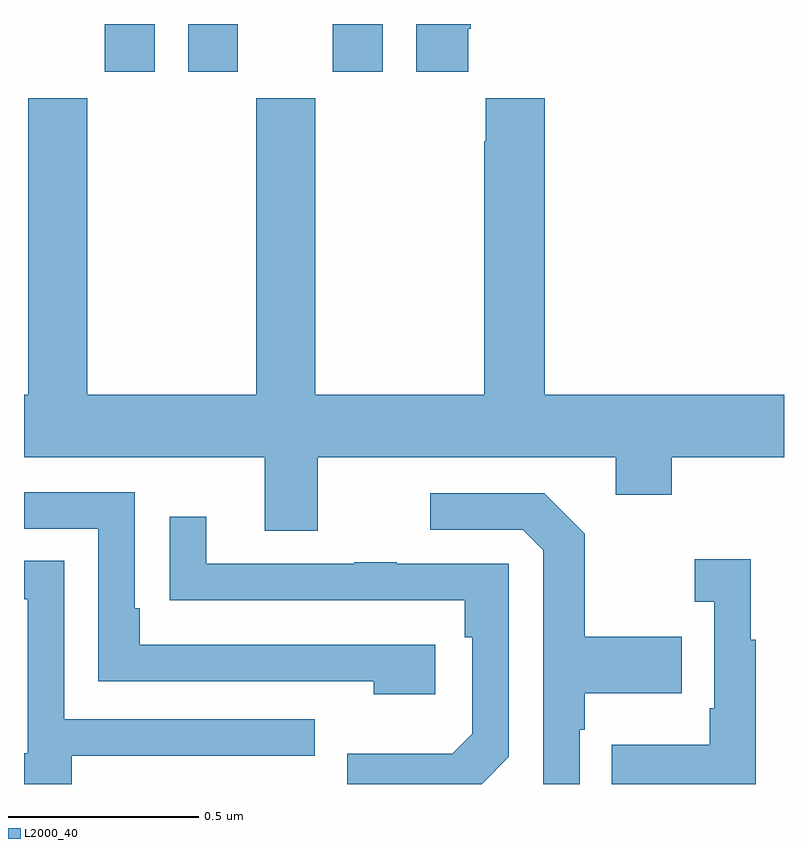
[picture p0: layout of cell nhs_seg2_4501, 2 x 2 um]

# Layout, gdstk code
import gdstk
lib = gdstk.Library(unit=1e-6, precision=1e-09)
def R(c, l, rs):  # rectangles x0, y0, x1, y1
    for r in rs: c.add(gdstk.rectangle(r[:2], r[2:], *l))
def P(c, l, *ps):  # polygons
    for p in ps: c.add(gdstk.Polygon(p, *l))
L2000_40 = (2000, 40)

nhs_seg2_4501 = lib.new_cell('nhs_seg2_4501')
R(nhs_seg2_4501, L2000_40, [(167.213,624.675,167.344,624.8), (167.432,624.675,167.563,624.8), (167.813,624.675,167.944,624.8)])
P(nhs_seg2_4501, L2000_40, [(168.169,624.787),(168.176,624.787),(168.176,624.8),(168.032,624.8),(168.032,624.675),(168.169,624.675)],
  [(167.773,623.66),(168.557,623.66),(168.557,623.561),(168.705,623.561),(168.705,623.66),(169,623.66),(169,623.824),(168.371,623.824),(168.371,624.604),(168.215,624.604),(168.215,624.491),(168.211,624.491),(168.211,623.824),(167.766,623.824),(167.766,624.604),(167.611,624.604),(167.611,623.824),(167.166,623.824),(167.166,624.604),(167.011,624.604),(167.011,623.824),(167,623.824),(167,623.66),(167.633,623.66),(167.633,623.466),(167.773,623.466)],
  [(168.082,623.166),(167.305,623.166),(167.305,623.263),(167.292,623.263),(167.292,623.568),(167,623.568),(167,623.472),(167.196,623.472),(167.196,623.07),(167.921,623.07),(167.921,623.036),(168.082,623.036)],
  [(168.462,622.943),(168.475,622.943),(168.475,623.039),(168.731,623.039),(168.731,623.187),(168.475,623.187),(168.475,623.459),(168.369,623.565),(168.069,623.565),(168.069,623.469),(168.312,623.469),(168.366,623.415),(168.366,622.8),(168.462,622.8)],
  [(168.276,622.872),(168.276,623.379),(167.981,623.379),(167.981,623.384),(167.869,623.384),(167.869,623.379),(167.479,623.379),(167.479,623.503),(167.383,623.503),(167.383,623.284),(167.485,623.284),(167.485,623.283),(168.16,623.283),(168.16,623.186),(168.18,623.186),(168.18,622.932),(168.127,622.879),(167.85,622.879),(167.85,622.8),(168.204,622.8)],
  [(168.925,623.179),(168.913,623.179),(168.913,623.392),(168.765,623.392),(168.765,623.279),(168.816,623.279),(168.816,622.999),(168.804,622.999),(168.804,622.903),(168.547,622.903),(168.547,622.8),(168.925,622.8)],
  [(167.125,622.875),(167.765,622.875),(167.765,622.971),(167.106,622.971),(167.106,623.387),(167,623.387),(167,623.286),(167.01,623.286),(167.01,622.881),(167,622.881),(167,622.8),(167.125,622.8)])

lib.write_gds('nhs_seg2_4501.gds')
